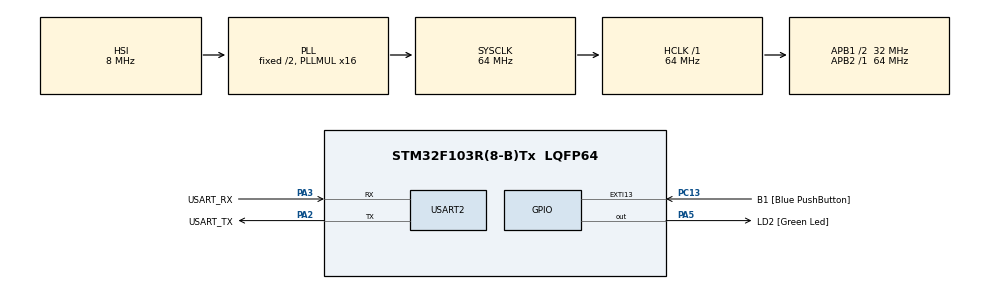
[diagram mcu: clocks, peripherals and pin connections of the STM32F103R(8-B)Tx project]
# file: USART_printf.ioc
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Mcu.Family=STM32F1
Mcu.Name=STM32F103R(8-B)Tx
Mcu.Package=LQFP64
NVIC.EXTI15_10_IRQn=true\:0\:0\:false\:false\:true\:true\:true\:true
NVIC.PriorityGroup=NVIC_PRIORITYGROUP_4
PA13.GPIO_Label=TMS
PA13.Mode=Serial_Wire
PA13.Signal=SYS_JTMS-SWDIO
PA14.GPIO_Label=TCK
PA14.Mode=Serial_Wire
PA14.Signal=SYS_JTCK-SWCLK
PA2.GPIO_Label=USART_TX
PA2.GPIO_Mode=GPIO_MODE_AF_PP
PA2.GPIO_PuPd=GPIO_NOPULL
PA2.GPIO_Speed=GPIO_SPEED_FREQ_LOW
PA2.Mode=Asynchronous
PA2.Signal=USART2_TX
PA3.GPIO_Label=USART_RX
PA3.GPIO_Mode=GPIO_MODE_AF_PP
PA3.GPIO_PuPd=GPIO_NOPULL
PA3.GPIO_Speed=GPIO_SPEED_FREQ_LOW
PA3.Mode=Asynchronous
PA3.Signal=USART2_RX
PA5.GPIO_Label=LD2 [Green Led]
PA5.GPIO_ModeDefaultOutputPP=GPIO_MODE_OUTPUT_PP
PA5.GPIO_PuPd=GPIO_NOPULL
PA5.GPIO_Speed=GPIO_SPEED_FREQ_LOW
PA5.Signal=GPIO_Output
PB3.GPIO_Label=SWO
PB3.Signal=SYS_JTDO-TRACESWO
PC13-TAMPER-RTC.GPIO_Label=B1 [Blue PushButton]
PC13-TAMPER-RTC.GPIO_PuPd=GPIO_NOPULL
PC13-TAMPER-RTC.Signal=GPXTI13
PC14-OSC32_IN.Mode=LSE-External-Oscillator
PC14-OSC32_IN.Signal=RCC_OSC32_IN
PC15-OSC32_OUT.Mode=LSE-External-Oscillator
PC15-OSC32_OUT.Signal=RCC_OSC32_OUT
PD0-OSC_IN.Mode=HSE-External-Clock-Source
PD0-OSC_IN.Signal=RCC_OSC_IN
PD1-OSC_OUT.Mode=HSE-External-Clock-Source
PD1-OSC_OUT.Signal=RCC_OSC_OUT
ProjectManager.HeapSize=0x200
ProjectManager.StackSize=0x400
ProjectManager.TargetToolchain=STM32CubeIDE
RCC.AHBFreq_Value=64000000
RCC.APB1CLKDivider=RCC_HCLK_DIV2
RCC.APB1Freq_Value=32000000
RCC.APB1TimFreq_Value=64000000
RCC.APB2Freq_Value=64000000
RCC.APB2TimFreq_Value=64000000
RCC.HCLKFreq_Value=64000000
RCC.PLLMUL=RCC_PLL_MUL16
RCC.RTCClockSelection=RCC_RTCCLKSOURCE_LSE
RCC.SYSCLKFreq_VALUE=64000000
RCC.SYSCLKSource=RCC_SYSCLKSOURCE_PLLCLK
RCC.USBFreq_Value=64000000
USART2.VirtualMode=VM_ASYNC
board=NUCLEO-F103RB

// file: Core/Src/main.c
/* USER CODE BEGIN Header */
/**
 ******************************************************************************
 * @file           : main.c
 * @brief          : Main program body
 ******************************************************************************
 * @attention
 *
 * Copyright (c) 2026 STMicroelectronics.
 * All rights reserved.
 *
 * This software is licensed under terms that can be found in the LICENSE file
 * in the root directory of this software component.
 * If no LICENSE file comes with this software, it is provided AS-IS.
 *
 ******************************************************************************
 */
/**
 * 01_USART_printf  —  [계층: HAL]  printf 출력을 USART2(ST-Link 가상 COM 포트)로 보내기
 *
 * 동작: printf -> newlib _write (syscalls.c) -> __io_putchar(ch) (이 파일) -> HAL_UART_Transmit
 *   '\n' 앞에 '\r' 을 추가 전송해 터미널에서 줄 바꿈이 맞게 보이게 한다.
 *
 * 하드웨어 대응 (RM0008)
 *   USART2 : PA2(TX) / PA3(RX), 115200bps 8N1  -> USART2_BRR, USART2_CR1(TE/RE/UE)
 *   HAL_UART_Transmit : USART2_SR.TXE 를 폴링하며 USART2_DR 에 1바이트씩 기록 (블로킹)
 *
 * 인터럽트/콜백 없음 (폴링 송신). ISR 은 SysTick_Handler(HAL_Delay 용)뿐이다.
 * 이후 모든 예제의 디버그 출력 방식의 기본이 되는 코드이다.
 */
/* USER CODE END Header */
#include "main.h"

/* USER CODE BEGIN Includes */
#include <stdio.h>
/* USER CODE END Includes */

UART_HandleTypeDef huart2;

void SystemClock_Config(void);
static void MX_GPIO_Init(void);
static void MX_USART2_UART_Init(void);

/* USER CODE BEGIN 0 */
#ifdef __GNUC__
#define PUTCHAR_PROTOTYPE int __io_putchar(int ch)
#else
#define PUTCHAR_PROTOTYPE int fputc(int ch, FILE *f)
#endif

PUTCHAR_PROTOTYPE {
  if (ch == '\n')
    HAL_UART_Transmit(&huart2, (uint8_t *)"\r", 1, 0xFFFF);

  HAL_UART_Transmit(&huart2, (uint8_t *)&ch, 1, 0xFFFF);

  return ch;
}
/* USER CODE END 0 */

int main(void)
{

  /* USER CODE BEGIN 1 */
//   uint8_t sMsg[35] = {'\0'};
  uint8_t index = 0;
  /* USER CODE END 1 */

  /* MCU Configuration--------------------------------------------------------*/

  /* Reset of all peripherals, Initializes the Flash interface and the Systick. */
  HAL_Init();

  /* Configure the system clock */
  SystemClock_Config();

  /* Initialize all configured peripherals */
  MX_GPIO_Init();
  MX_USART2_UART_Init();

  /* Infinite loop */
  /* USER CODE BEGIN WHILE */
  HAL_Delay(1000);
  while (1) {
    /* USER CODE END WHILE */

    /* USER CODE BEGIN 3 */
    /* 줄 끝은 '\n' 하나만 쓴다. __io_putchar 가 '\n' 앞에 '\r' 을 붙이므로
     * 실제 송신 바이트는 0D 0A (CR LF) 가 된다. "\r\n" 을 쓰면 0D 0D 0A 가 된다. */
    printf("Hello World!\n");
    printf("Hello, everyone! index = %d\n", index++);
    // printf("%s", sMsg);

    // printf("Hello, everyone! index = %d\n", index++);
    // printf("A\n");
    HAL_Delay(1000);
  }
  /* USER CODE END 3 */
}

void SystemClock_Config(void)
{
  RCC_OscInitTypeDef RCC_OscInitStruct = {0};
  RCC_ClkInitTypeDef RCC_ClkInitStruct = {0};

  /** Initializes the RCC Oscillators according to the specified parameters
  * in the RCC_OscInitTypeDef structure.
  */
  RCC_OscInitStruct.OscillatorType = RCC_OSCILLATORTYPE_HSI;
  RCC_OscInitStruct.HSIState = RCC_HSI_ON;
  RCC_OscInitStruct.HSICalibrationValue = RCC_HSICALIBRATION_DEFAULT;
  RCC_OscInitStruct.PLL.PLLState = RCC_PLL_ON;
  RCC_OscInitStruct.PLL.PLLSource = RCC_PLLSOURCE_HSI_DIV2;
  RCC_OscInitStruct.PLL.PLLMUL = RCC_PLL_MUL16;
  if (HAL_RCC_OscConfig(&RCC_OscInitStruct) != HAL_OK)
  {
    Error_Handler();
  }

  /** Initializes the CPU, AHB and APB buses clocks
  */
  RCC_ClkInitStruct.ClockType = RCC_CLOCKTYPE_HCLK|RCC_CLOCKTYPE_SYSCLK
                              |RCC_CLOCKTYPE_PCLK1|RCC_CLOCKTYPE_PCLK2;
  RCC_ClkInitStruct.SYSCLKSource = RCC_SYSCLKSOURCE_PLLCLK;
  RCC_ClkInitStruct.AHBCLKDivider = RCC_SYSCLK_DIV1;
  RCC_ClkInitStruct.APB1CLKDivider = RCC_HCLK_DIV2;
  RCC_ClkInitStruct.APB2CLKDivider = RCC_HCLK_DIV1;

  if (HAL_RCC_ClockConfig(&RCC_ClkInitStruct, FLASH_LATENCY_2) != HAL_OK)
  {
    Error_Handler();
  }
}

static void MX_USART2_UART_Init(void)
{

  huart2.Instance = USART2;
  huart2.Init.BaudRate = 115200;
  huart2.Init.WordLength = UART_WORDLENGTH_8B;
  huart2.Init.StopBits = UART_STOPBITS_1;
  huart2.Init.Parity = UART_PARITY_NONE;
  huart2.Init.Mode = UART_MODE_TX_RX;
  huart2.Init.HwFlowCtl = UART_HWCONTROL_NONE;
  huart2.Init.OverSampling = UART_OVERSAMPLING_16;
  if (HAL_UART_Init(&huart2) != HAL_OK)
  {
    Error_Handler();
  }

}

static void MX_GPIO_Init(void)
{
  GPIO_InitTypeDef GPIO_InitStruct = {0};

  /* GPIO Ports Clock Enable */
  __HAL_RCC_GPIOC_CLK_ENABLE();
  __HAL_RCC_GPIOD_CLK_ENABLE();
  __HAL_RCC_GPIOA_CLK_ENABLE();
  __HAL_RCC_GPIOB_CLK_ENABLE();

  /*Configure GPIO pin Output Level */
  HAL_GPIO_WritePin(LD2_GPIO_Port, LD2_Pin, GPIO_PIN_RESET);

  /*Configure GPIO pin : B1_Pin */
  GPIO_InitStruct.Pin = B1_Pin;
  GPIO_InitStruct.Mode = GPIO_MODE_IT_RISING;
  GPIO_InitStruct.Pull = GPIO_NOPULL;
  HAL_GPIO_Init(B1_GPIO_Port, &GPIO_InitStruct);

  /*Configure GPIO pin : LD2_Pin */
  GPIO_InitStruct.Pin = LD2_Pin;
  GPIO_InitStruct.Mode = GPIO_MODE_OUTPUT_PP;
  GPIO_InitStruct.Pull = GPIO_NOPULL;
  GPIO_InitStruct.Speed = GPIO_SPEED_FREQ_LOW;
  HAL_GPIO_Init(LD2_GPIO_Port, &GPIO_InitStruct);

  /* EXTI interrupt init*/
  HAL_NVIC_SetPriority(EXTI15_10_IRQn, 0, 0);
  HAL_NVIC_EnableIRQ(EXTI15_10_IRQn);

}

void Error_Handler(void)
{
  __disable_irq();
  while (1) {
  }
}
#ifdef USE_FULL_ASSERT
/**
  * @brief  Reports the name of the source file and the source line number
  *         where the assert_param error has occurred.
  * @param  file: pointer to the source file name
  * @param  line: assert_param error line source number
  * @retval None
  */
void assert_failed(uint8_t *file, uint32_t line)
{
  /* USER CODE BEGIN 6 */
  /* User can add his own implementation to report the file name and line
     number, ex: printf("Wrong parameters value: file %s on line %d\r\n", file,
     line) */
  /* USER CODE END 6 */
}
#endif /* USE_FULL_ASSERT */
